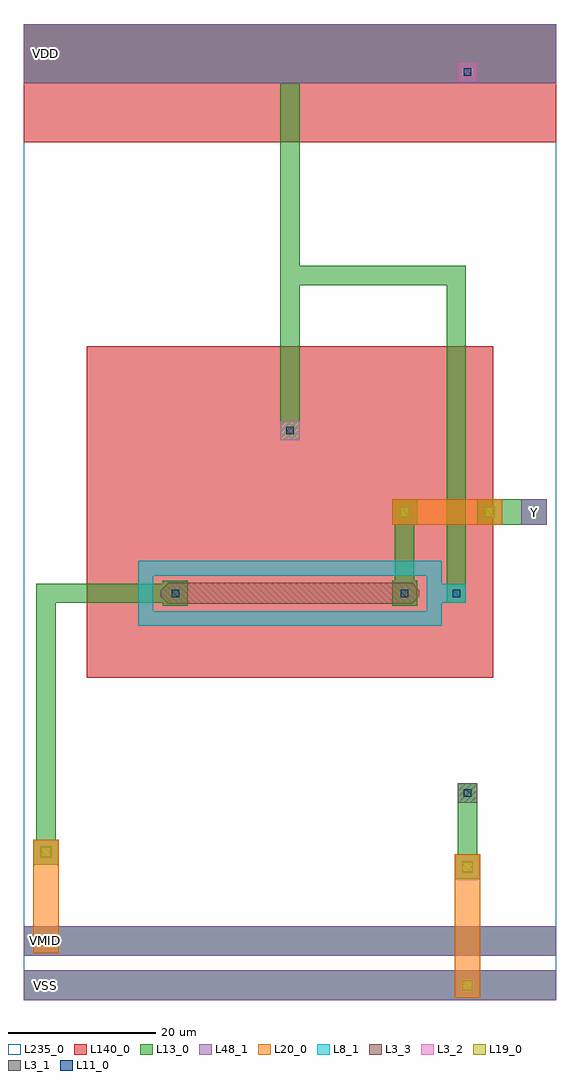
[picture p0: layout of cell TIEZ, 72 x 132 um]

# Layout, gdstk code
import gdstk
lib = gdstk.Library(unit=1e-6, precision=1e-09)
def R(c, l, rs):  # rectangles x0, y0, x1, y1
    for r in rs: c.add(gdstk.rectangle(r[:2], r[2:], *l))
def P(c, l, *ps):  # polygons
    for p in ps: c.add(gdstk.Polygon(p, *l))
L3_1 = (3, 1)
L3_2 = (3, 2)
L3_3 = (3, 3)
L8_1 = (8, 1)
L11_0 = (11, 0)
L13_0 = (13, 0)
L19_0 = (19, 0)
L20_0 = (20, 0)
L48_1 = (48, 1)
L140_0 = (140, 0)
L235_0 = (235, 0)

res_diff__tiez = lib.new_cell('res_diff__TIEZ')
P(res_diff__tiez, L3_3, [(-16.5,-1.4),(-17.5,-0.4),(-17.5,0.4),(-16.5,1.4),(16.5,1.4),(17.5,0.4),(17.5,-0.4),(16.5,-1.4)])
P(res_diff__tiez, L8_1, [(-20.5,-4.4),(-20.5,2.4),(-18.5,2.4),(-18.5,-2.4),(18.5,-2.4),(18.5,2.4),(-20.5,2.4),(-20.5,4.4),(20.5,4.4),(20.5,-4.4)])
R(res_diff__tiez, L11_0, [(-16,-0.5,-15,0.5), (15,-0.5,16,0.5)])
R(res_diff__tiez, L13_0, [(-17.2,-1.7,-13.8,1.7), (13.8,-1.7,17.2,1.7)])

cont_n__tiez = lib.new_cell('cont_n__TIEZ')
R(cont_n__tiez, L3_2, [(-1.3,-1.3,1.3,1.3)])
R(cont_n__tiez, L11_0, [(-0.5,-0.5,0.5,0.5)])
R(cont_n__tiez, L13_0, [(-1.3,-1.3,1.3,1.3)])

cont_g__tiez = lib.new_cell('cont_g__TIEZ')
R(cont_g__tiez, L8_1, [(-1.3,-1.3,1.3,1.3)])
R(cont_g__tiez, L11_0, [(-0.5,-0.5,0.5,0.5)])
R(cont_g__tiez, L13_0, [(-1.3,-1.3,1.3,1.3)])

via_1__tiez = lib.new_cell('via_1__TIEZ')
R(via_1__tiez, L13_0, [(-1.7,-1.7,1.7,1.7)])
R(via_1__tiez, L19_0, [(-0.7,-0.7,0.7,0.7)])
R(via_1__tiez, L20_0, [(-1.7,-1.7,1.7,1.7)])

cont_p__tiez = lib.new_cell('cont_p__TIEZ')
R(cont_p__tiez, L3_1, [(-1.3,-1.3,1.3,1.3)])
R(cont_p__tiez, L11_0, [(-0.5,-0.5,0.5,0.5)])
R(cont_p__tiez, L13_0, [(-1.3,-1.3,1.3,1.3)])

tiez = lib.new_cell('TIEZ')
R(tiez, L8_1, [(55.2,53.7,59.8,56.3)])
R(tiez, L13_0, [(0,0,72,4), (0,6,72,10), (58.7,16.7,61.3,29.3), (1.7,18.7,4.3,56.3), (1.7,53.7,21.8,56.3), (50.2,53.7,52.8,67.3), (57.2,53.7,59.8,99.3), (61.3,64.3,70.7,67.7), (67.3,64.3,70.7,67.7), (34.7,75.7,37.3,99.3), (34.7,96.7,59.8,99.3), (34.7,96.7,37.3,129.3), (0,124,72,132), (58.7,124.2,61.3,129.3)])
R(tiez, L20_0, [(58.3,0.3,61.7,19.7), (1.3,6.3,4.7,21.7), (49.8,64.3,64.7,67.7)])
R(tiez, L48_1, [(0,0,72,4), (0,6,72,10), (67.3,64.3,70.7,67.7), (0,124,72,132)])
R(tiez, L140_0, [(8.5,43.6,63.5,88.4), (0,116,72,132)])
R(tiez, L235_0, [(0,0,72,132)])
tiez.add(gdstk.Reference(res_diff__tiez, (36,55)))
tiez.add(gdstk.Reference(cont_n__tiez, (36,77)))
tiez.add(gdstk.Reference(cont_g__tiez, (58.5,55)))
tiez.add(gdstk.Reference(via_1__tiez, (51.5,66)))
tiez.add(gdstk.Reference(via_1__tiez, (63,66)))
tiez.add(gdstk.Reference(via_1__tiez, (3,20)))
tiez.add(gdstk.Reference(via_1__tiez, (3,8)))
tiez.add(gdstk.Reference(cont_n__tiez, (60,125.5)))
tiez.add(gdstk.Reference(cont_p__tiez, (60,28)))
tiez.add(gdstk.Reference(via_1__tiez, (60,18)))
tiez.add(gdstk.Reference(via_1__tiez, (60,2)))
tiez.add(gdstk.Label('Y', (69,66), layer=48, texttype=0))
tiez.add(gdstk.Label('VDD', (3,128), layer=48, texttype=0))
tiez.add(gdstk.Label('VMID', (3,8), layer=48, texttype=0))
tiez.add(gdstk.Label('VSS', (3,2), layer=48, texttype=0))

lib.write_gds('TIEZ.gds')
